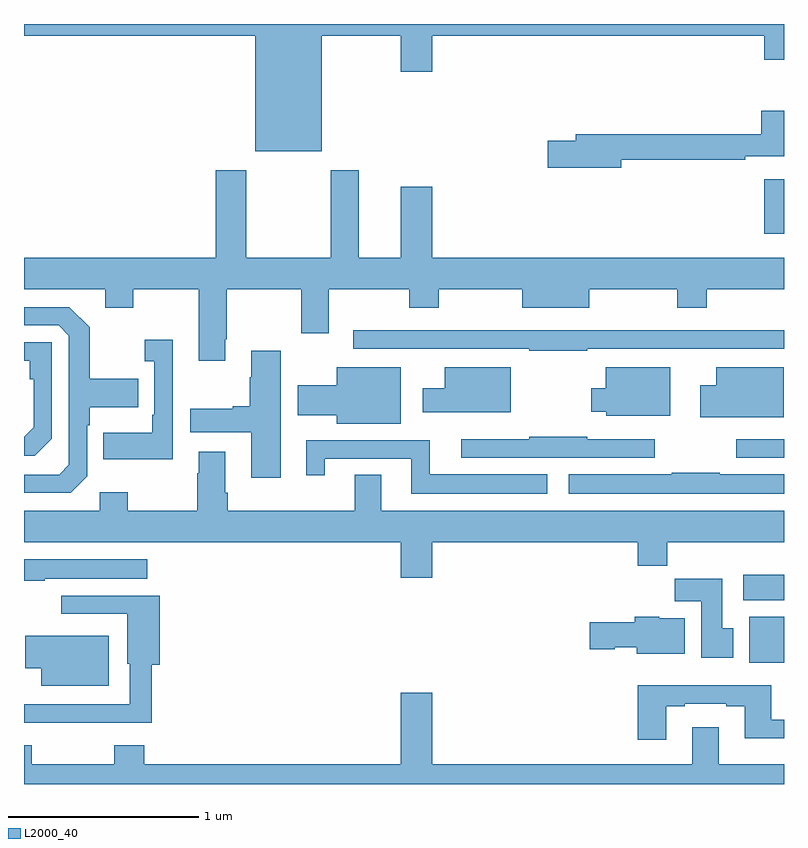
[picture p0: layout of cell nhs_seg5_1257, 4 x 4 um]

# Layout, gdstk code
import gdstk
lib = gdstk.Library(unit=1e-6, precision=1e-09)
def R(c, l, rs):  # rectangles x0, y0, x1, y1
    for r in rs: c.add(gdstk.rectangle(r[:2], r[2:], *l))
def P(c, l, *ps):  # polygons
    for p in ps: c.add(gdstk.Polygon(p, *l))
L2000_40 = (2000, 40)

nhs_seg5_1257 = lib.new_cell('nhs_seg5_1257')
R(nhs_seg5_1257, L2000_40, [(190.817,877.436,191,877.678), (190.785,877.766,191,877.9), (190.749,878.517,191,878.613), (190.895,879.696,191,879.982)])
P(nhs_seg5_1257, L2000_40, [(188.566,880.736),(188.984,880.736),(188.984,880.548),(189.148,880.548),(189.148,880.736),(190.895,880.736),(190.895,880.612),(191,880.612),(191,880.799),(187,880.799),(187,880.736),(188.216,880.736),(188.216,880.13),(188.566,880.13)],
  [(190.144,880.084),(190.796,880.084),(190.796,880.104),(191,880.104),(191,880.342),(190.88,880.342),(190.88,880.22),(189.905,880.22),(189.905,880.184),(189.756,880.184),(189.756,880.042),(190.144,880.042)],
  [(188.059,879.139),(188.067,879.139),(188.067,879.404),(188.458,879.404),(188.458,879.171),(188.605,879.171),(188.605,879.404),(189.028,879.404),(189.028,879.305),(189.183,879.305),(189.183,879.404),(189.623,879.404),(189.623,879.305),(189.976,879.305),(189.976,879.404),(190.438,879.404),(190.438,879.305),(190.593,879.305),(190.593,879.404),(191,879.404),(191,879.568),(189.148,879.568),(189.148,879.943),(188.984,879.943),(188.984,879.568),(188.761,879.568),(188.761,880.03),(188.614,880.03),(188.614,879.568),(188.169,879.568),(188.169,880.03),(188.009,880.03),(188.009,879.568),(187,879.568),(187,879.404),(187.427,879.404),(187.427,879.305),(187.575,879.305),(187.575,879.404),(187.919,879.404),(187.919,879.027),(188.059,879.027)],
  [(187.332,878.418),(187.332,878.687),(187.345,878.687),(187.345,878.783),(187.601,878.783),(187.601,878.931),(187.345,878.931),(187.345,879.203),(187.239,879.309),(187,879.309),(187,879.213),(187.182,879.213),(187.236,879.159),(187.236,878.478),(187.185,878.427),(187,878.427),(187,878.331),(187.245,878.331)],
  [(189.965,879.09),(191,879.09),(191,879.186),(190.937,879.186),(190.937,879.188),(190.681,879.188),(190.681,879.186),(190.349,879.186),(190.349,879.188),(190.072,879.188),(190.072,879.186),(189.527,879.186),(189.527,879.188),(189.271,879.188),(189.271,879.186),(188.733,879.186),(188.733,879.09),(189.658,879.09),(189.658,879.078),(189.965,879.078)],
  [(187.782,878.869),(187.783,878.869),(187.783,879.136),(187.635,879.136),(187.635,879.023),(187.686,879.023),(187.686,878.743),(187.674,878.743),(187.674,878.647),(187.417,878.647),(187.417,878.507),(187.782,878.507)],
  [(187.146,878.616),(187.146,879.123),(187,879.123),(187,879.027),(187.03,879.027),(187.03,878.93),(187.05,878.93),(187.05,878.676),(187,878.626),(187,878.526),(187.056,878.526)],
  [(188.35,879.079),(188.195,879.079),(188.195,878.939),(188.188,878.939),(188.188,878.786),(188.099,878.786),(188.099,878.773),(187.875,878.773),(187.875,878.651),(188.195,878.651),(188.195,878.412),(188.35,878.412)],
  [(188.983,878.992),(188.645,878.992),(188.645,878.899),(188.442,878.899),(188.442,878.741),(188.645,878.741),(188.645,878.696),(188.983,878.696)],
  [(189.562,878.992),(189.215,878.992),(189.215,878.881),(189.098,878.881),(189.098,878.756),(189.562,878.756)],
  [(190.402,878.992),(190.061,878.992),(190.061,878.881),(189.986,878.881),(189.986,878.759),(190.065,878.759),(190.065,878.738),(190.402,878.738)],
  [(190.999,878.992),(190.643,878.992),(190.643,878.899),(190.559,878.899),(190.559,878.729),(190.999,878.729)],
  [(190.321,878.613),(189.965,878.613),(189.965,878.626),(189.658,878.626),(189.658,878.614),(189.3,878.614),(189.3,878.517),(190.321,878.517)],
  [(189.754,878.428),(189.136,878.428),(189.136,878.607),(188.486,878.607),(188.486,878.424),(188.584,878.424),(188.584,878.511),(189.038,878.511),(189.038,878.327),(189.754,878.327)],
  [(189.148,878.072),(190.229,878.072),(190.229,877.948),(190.385,877.948),(190.385,878.072),(191,878.072),(191,878.236),(188.881,878.236),(188.881,878.426),(188.741,878.426),(188.741,878.236),(188.072,878.236),(188.072,878.332),(188.059,878.332),(188.059,878.548),(187.919,878.548),(187.919,878.435),(187.912,878.435),(187.912,878.236),(187.545,878.236),(187.545,878.335),(187.398,878.335),(187.398,878.236),(187,878.236),(187,878.072),(188.984,878.072),(188.984,877.884),(189.148,877.884)],
  [(191,878.428),(190.661,878.428),(190.661,878.438),(190.408,878.438),(190.408,878.428),(189.867,878.428),(189.867,878.327),(191,878.327)],
  [(187.109,877.88),(187.648,877.88),(187.648,877.981),(187,877.981),(187,877.87),(187.109,877.87)],
  [(190.732,877.62),(190.675,877.62),(190.675,877.879),(190.426,877.879),(190.426,877.76),(190.565,877.76),(190.565,877.464),(190.732,877.464)],
  [(187.385,877.122),(187.673,877.122),(187.673,877.427),(187.715,877.427),(187.715,877.791),(187.197,877.791),(187.197,877.695),(187.544,877.695),(187.544,877.431),(187.557,877.431),(187.557,877.218),(187,877.218),(187,877.122),(187.129,877.122),(187.129,877.121),(187.385,877.121)],
  [(190.477,877.672),(190.344,877.672),(190.344,877.678),(190.214,877.678),(190.214,877.65),(189.978,877.65),(189.978,877.508),(190.11,877.508),(190.11,877.52),(190.226,877.52),(190.226,877.484),(190.477,877.484)],
  [(187.447,877.579),(187.007,877.579),(187.007,877.409),(187.091,877.409),(187.091,877.316),(187.447,877.316)],
  [(190.381,877.209),(190.477,877.209),(190.477,877.221),(190.697,877.221),(190.697,877.209),(190.793,877.209),(190.793,877.04),(191,877.04),(191,877.137),(190.933,877.137),(190.933,877.318),(190.229,877.318),(190.229,877.032),(190.381,877.032)],
  [(191,876.904),(190.657,876.904),(190.657,877.099),(190.517,877.099),(190.517,876.904),(189.148,876.904),(189.148,877.279),(188.984,877.279),(188.984,876.904),(187.634,876.904),(187.634,877.003),(187.474,877.003),(187.474,876.904),(187.041,876.904),(187.041,877.003),(187,877.003),(187,876.799),(191,876.799)])

lib.write_gds('nhs_seg5_1257.gds')
